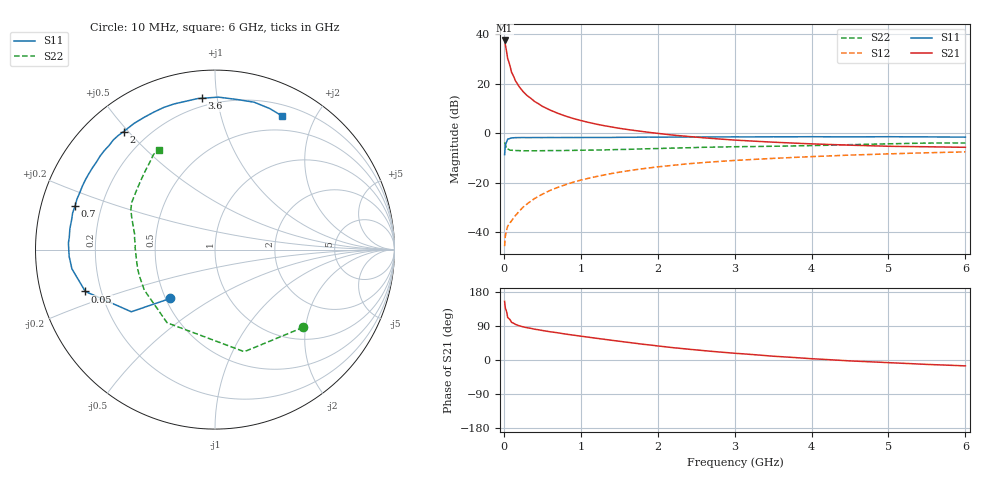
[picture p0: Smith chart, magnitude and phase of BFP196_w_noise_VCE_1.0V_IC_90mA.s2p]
! Infineon Technologies  Discrete & RF Semiconductors
! BFP196
! VCE =  1.0 V,  IC =  90 mA
! Common Emitter S-Parameters:  Jan 2017
# GHz  S  MA  R  50
!  f  S11  S21  S12  S22
! GHz  MAG  ANG  MAG  ANG  MAG  ANG  MAG  ANG
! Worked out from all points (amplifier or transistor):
!   77 points, 10 MHz to 6 GHz, reference 50 ohm
!   highest |S21| = 37.5 dB at 10 MHz (marker M1)
!   |S21| within 3 dB of that: start of sweep to 27.16 MHz
!   unconditionally stable (mu >= 1): 226.8 MHz to end of sweep
!   at 130 MHz: K = 0.86, MSG = 28.4 dB, |S12| = -34.1 dB
!   at 2.2 GHz: K = 1.04, MAG = 4.9 dB, |S12| = -13.0 dB
!   at 6 GHz: K = 1.03, MAG = -0.1 dB, |S12| = -7.6 dB
!   lowest NFmin = 1.90 dB at 450 MHz
!   S11 on the Smith chart (normalised r, x): 10 MHz: 0.53, -0.33; 50 MHz: 0.14, -0.15; 700 MHz: 0.10, +0.15; 2 GHz: 0.11, +0.49; 3.6 GHz: 0.15, +0.90; 6 GHz: 0.32, +1.58
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0.01  0.3691 -132.5  75.03 154.6  0.0052 68.4  0.6551 -41.4
0.02  0.5809 -143.4  60.66 136.6  0.0084 56.5  0.5918 -74.0
0.05  0.7594 -162.1  32.18 111.9  0.0132 45.1  0.4873 -123.2
0.1  0.8045 -172.4  17.1 99.3  0.0169 54.7  0.4538 -150.1
0.15  0.8134 -177.3  11.55 94.0  0.0216 59.9  0.4463 -160.6
0.2  0.8149 179.8  8.691 90.3  0.0264 65.1  0.4441 -166.3
0.25  0.8175 177.3  6.956 87.5  0.0319 65.5  0.4417 -169.9
0.3  0.8148 175.2  5.804 85.3  0.0369 67.5  0.4414 -172.8
0.4  0.8169 171.8  4.38 81.3  0.0477 68.9  0.4414 -176.4
0.5  0.8158 168.5  3.505 77.9  0.0584 69.4  0.4426 -179.0
0.6  0.8191 165.5  2.942 74.6  0.0695 68.3  0.4455 178.6
0.7  0.8168 162.8  2.532 71.8  0.0802 68.6  0.4447 176.7
0.9  0.8176 157.1  1.988 65.7  0.1022 66.4  0.4493 173.6
1.1  0.8201 151.6  1.655 60.2  0.1226 63.8  0.4545 170.6
1.5  0.8254 140.9  1.257 49.5  0.1626 57.8  0.468 165.5
2  0.8316 127.7  0.992 37.1  0.2085 49.6  0.4901 160.4
2.1  0.8327 125.1  0.953 34.9  0.2165 48.1  0.4952 159.3
3.1  0.8421 104.0  0.712 16.4  0.2868 33.1  0.535 149.2
3.6  0.8462 95.0  0.648 8.8  0.3148 26.6  0.5474 143.1
4.1  0.8477 87.2  0.601 2.3  0.341 20.3  0.5662 136.6
5.1  0.8475 73.8  0.541 -7.9  0.386 8.4  0.6143 125.5
6  0.8332 63.2  0.519 -15.5  0.419 -1.5  0.6351 119.3
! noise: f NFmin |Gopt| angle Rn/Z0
0.45  1.9  0.53  -169  0.07
0.9  2.07  0.55  -156  0.11
1.9  2.95  0.71  -129  0.45
2.4  3.36  0.7  -115  0.94
